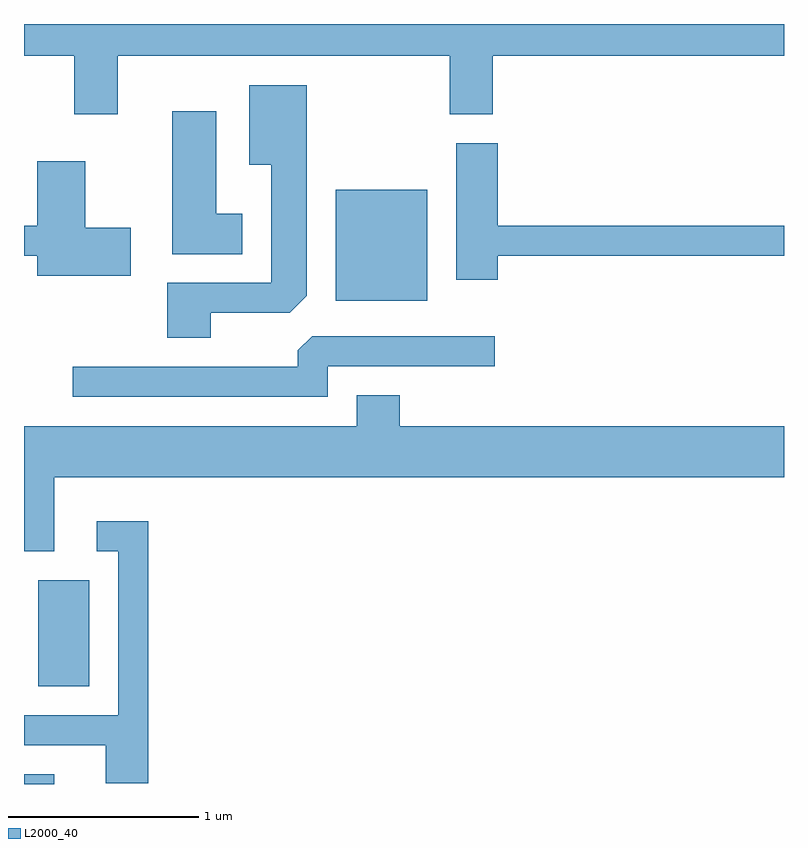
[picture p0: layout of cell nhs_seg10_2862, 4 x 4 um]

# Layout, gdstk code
import gdstk
lib = gdstk.Library(unit=1e-6, precision=1e-09)
def R(c, l, rs):  # rectangles x0, y0, x1, y1
    for r in rs: c.add(gdstk.rectangle(r[:2], r[2:], *l))
def P(c, l, *ps):  # polygons
    for p in ps: c.add(gdstk.Polygon(p, *l))
L2000_40 = (2000, 40)

nhs_seg10_2862 = lib.new_cell('nhs_seg10_2862')
R(nhs_seg10_2862, L2000_40, [(269.611,2114.522,269.769,2114.574), (269.686,2115.036,269.954,2115.594), (271.251,2117.066,271.734,2117.649)])
P(nhs_seg10_2862, L2000_40, [(270.104,2118.356),(271.851,2118.356),(271.851,2118.046),(272.079,2118.046),(272.079,2118.356),(273.611,2118.356),(273.611,2118.522),(269.611,2118.522),(269.611,2118.356),(269.876,2118.356),(269.876,2118.046),(270.104,2118.046)],
  [(270.594,2117.001),(271.009,2117.001),(271.099,2117.092),(271.099,2118.199),(270.796,2118.199),(270.796,2117.781),(270.911,2117.781),(270.911,2117.159),(270.366,2117.159),(270.366,2116.871),(270.594,2116.871)],
  [(270.759,2117.524),(270.624,2117.524),(270.624,2118.064),(270.391,2118.064),(270.391,2117.311),(270.759,2117.311)],
  [(272.104,2117.301),(273.611,2117.301),(273.611,2117.459),(272.104,2117.459),(272.104,2117.894),(271.886,2117.894),(271.886,2117.176),(272.104,2117.176)],
  [(270.174,2117.449),(269.934,2117.449),(269.934,2117.799),(269.681,2117.799),(269.681,2117.459),(269.611,2117.459),(269.611,2117.301),(269.681,2117.301),(269.681,2117.196),(270.174,2117.196)],
  [(271.209,2116.721),(272.088,2116.721),(272.088,2116.879),(271.127,2116.879),(271.051,2116.804),(271.051,2116.719),(269.868,2116.719),(269.868,2116.561),(271.209,2116.561)],
  [(269.769,2116.136),(273.611,2116.136),(273.611,2116.404),(271.589,2116.404),(271.589,2116.569),(271.361,2116.569),(271.361,2116.404),(269.611,2116.404),(269.611,2115.746),(269.769,2115.746)],
  [(270.264,2115.904),(269.993,2115.904),(269.993,2115.746),(270.106,2115.746),(270.106,2114.884),(269.611,2114.884),(269.611,2114.726),(270.041,2114.726),(270.041,2114.526),(270.264,2114.526)])

lib.write_gds('nhs_seg10_2862.gds')
